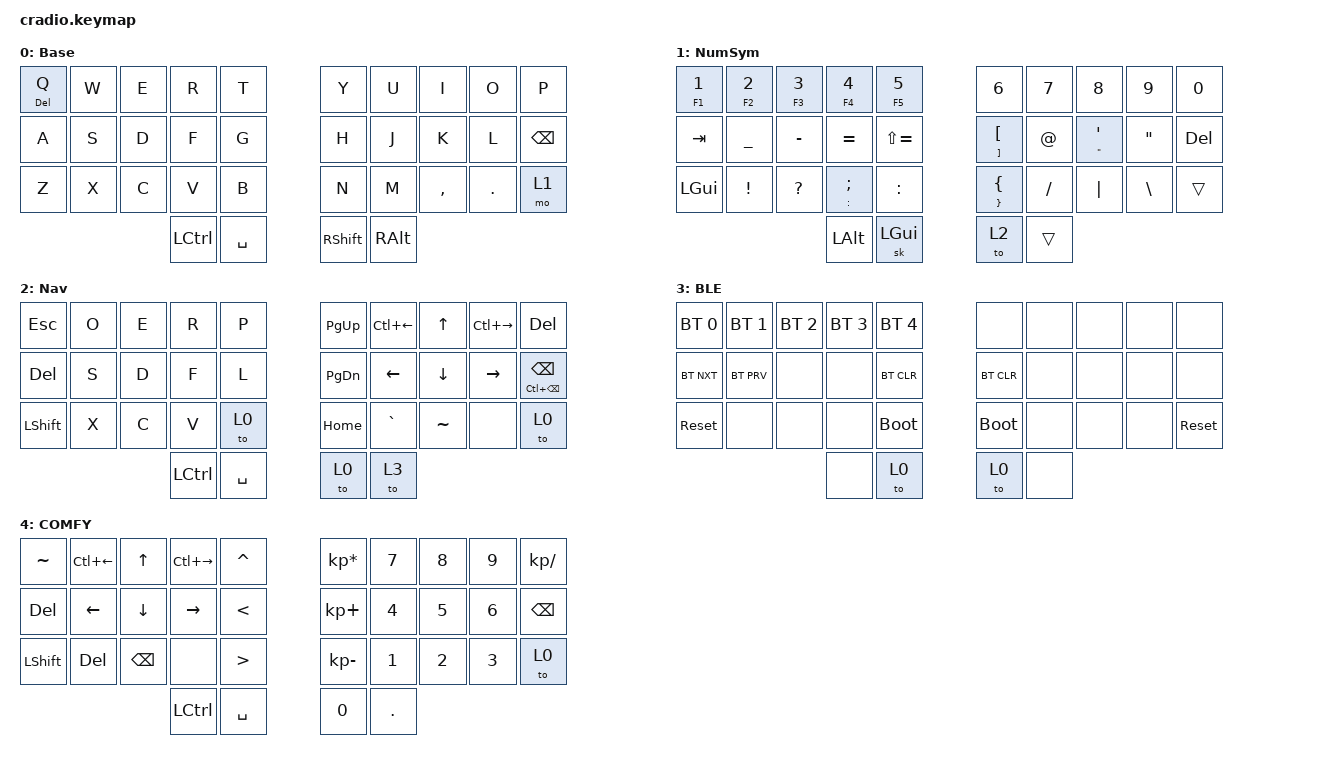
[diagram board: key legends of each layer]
/*
 * Copyright (c) 2020 The ZMK Contributors
 *
 * SPDX-License-Identifier: MIT
 */

#include <behaviors.dtsi>
#include <dt-bindings/zmk/keys.h>
#include <dt-bindings/zmk/bt.h>

#define DEFAULT_L 	0
#define NUMSYM_L 	1
#define NAV_L 		2
#define BLE_L 		3
#define COMFY_L		4
#define WORK_L		5

// Using layer taps on thumbs, having quick tap as well helps w/ repeating space/backspace

&lt {
    quick_tap_ms = <200>;
};

// Sticky Layer Behavior - release sticky behavior after x ms

&sk {
    release-after-ms = <1800>;
};

// COMBOS
// ===========================================================================================================
/*
	.----------------------------------------------------------------------.
	|  0  |  1  |  2  |  3  |  4  |          |  5  |  6  |  7  |  8  |  9  |
	|  10 |  11 |  12 |  13 |  14 |          |  15 |  16 |  17 |  18 |  19 |
	|  20 |  21 |  22 |  23 |  24 |          |  25 |  26 |  27 |  28 |  29 |
	'-----------------\  30 |  31 |          |  32 |  33 /-----------------'
	                   '--------------------------------'
			
	ESC 	= 0 | 1			LC(X)	= 7 | 8
	TAB 	= 11 | 12		LC(C)	= 17 | 18
					LC(V)	= 27 | 28
	ENTER 	= 12 | 13		SK(SFT) = 16 | 17
	LPAR 	= 13 | 14		RPAR 	= 15 | 16
	TO_2	= 20 | 21
	TO_4	= 21 | 22
	TO_0	= 22 | 23 
	TO_3	= 20 | 21 | 22		TO_3	= 27 | 28 | 29
*/

/ {
    combos {
        compatible = "zmk,combos";

        combo_esc {
            timeout-ms = <40>;
            key-positions = <0 1>;
            bindings = <&kp ESC>;
        };

        combo_tab {
            timeout-ms = <40>;
            key-positions = <11 12>;
            bindings = <&kp TAB>;
        };

        combo_enter {
            timeout-ms = <40>;
            key-positions = <12 13>;
            bindings = <&kp ENTER>;
        };

        combo_lpar {
            timeout-ms = <40>;
            key-positions = <13 14>;
            bindings = <&kp LPAR>;
        };

        combo_rpar {
            timeout-ms = <40>;
            key-positions = <15 16>;
            bindings = <&kp RPAR>;
        };

        combo_comfy {
            timeout-ms = <40>;
            key-positions = <21 22>;
            bindings = <&to COMFY_L>;
        };

        combo_default {
            timeout-ms = <40>;
            key-positions = <22 23>;
            bindings = <&to DEFAULT_L>;
        };

        combo_skshift {
            timeout-ms = <40>;
            key-positions = <16 17>;
            bindings = <&sk LSHIFT>;
        };

        combo_blel {
            timeout-ms = <40>;
            key-positions = <20 21 22>;
            bindings = <&to BLE_L>;
        };

        combo_bler {
            timeout-ms = <40>;
            key-positions = <27 28 29>;
            bindings = <&to BLE_L>;
        };

        combo_nav {
            timeout-ms = <40>;
            key-positions = <20 21>;
            bindings = <&to NAV_L>;
        };
    };

    // BEHAVIOR    
    // ===========================================================================================================

    behaviors {
        hm: homerow_mods {
            compatible = "zmk,behavior-hold-tap";
            label = "homerow mods";
            #binding-cells = <2>;
            tapping_term_ms = <170>;
            quick_tap_ms = <0>;
            flavor = "tap-preferred";
            bindings =
                <&kp>,
                <&kp>;
        };
    };

    // KEYMAP
    // ===========================================================================================================
    /* 0 = Default
	.----------------------------------------------------------------------.
	|Q DEL|  W  |  E  |  R  |  T  |          |  Y  |  U  |  I  |  O  |  P  |
	|  A  |  S  |  D  |  F  |  G  |          |  H  |  J  |  K  |  L  |BKSPC|
	|  Z  |  X  |  C  |  V  |  B  |          |  N  |  M  |  ,  |  .  |MO_1 |
	'-----------------\ CTRL| SPC |          | SFT | RALT/-----------------'
	                   '--------------------------------'
*/

    keymap {
        compatible = "zmk,keymap";

        default_layer {
            label = "Base";
            bindings = <
&mt DEL Q  &kp W  &kp E      &kp R      &kp T         &kp Y     &kp U      &kp I    &kp O          &kp P
    &kp A  &kp S  &kp D      &kp F      &kp G         &kp H     &kp J      &kp K    &kp L  &kp BACKSPACE
    &kp Z  &kp X  &kp C      &kp V      &kp B         &kp N     &kp M  &kp COMMA  &kp DOT          &mo 1
                         &kp LCTRL  &kp SPACE    &kp RSHIFT  &kp RALT
            >;
        };

        // -----------------------------------------------------------------------------
        /* 1 = Numbers and Symbols
	.----------------------------------------------------------------------.
	| 1 F1|2 F2 |3 F3 |4 F4 |5 F5 |          |  6  |  7  |  8  |  9  |  0  |
	| TAB |  _  |  -  |  =  |  +  |          | [ ] |  @  | ' " |  "  | DEL |
	| LGUI|  !  |  ?  | ; : |  :  |          | { } |  /  |  |  |  \  |     |
	'-----------------\ LALT| SFT |          |TO_2 |     /-----------------'
	                   '--------------------------------'
*/

        numsym_layer {
            label = "NumSym";
            bindings = <
&mt F1 N1  &mt F2 N2  &mt F3 N3       &mt F4 N4      &mt F5 N5           &kp N6    &kp N7       &kp N8    &kp N9   &kp N0
  &kp TAB  &kp UNDER  &kp MINUS       &kp EQUAL  &kp LS(EQUAL)    &mt RBKT LBKT    &kp AT  &mt DQT SQT   &kp DQT  &kp DEL
 &kp LGUI   &kp EXCL  &kp QMARK  &mt COLON SEMI      &kp COLON    &mt RBRC LBRC  &kp FSLH     &kp PIPE  &kp BSLH   &trans
                                       &kp LALT   &sk LEFT_GUI            &to 2    &trans
            >;
        };

        // -----------------------------------------------------------------------------
        /* 2 = Navigation
	.----------------------------------------------------------------------.
	| ESC |  O  |  E  |  R  |  P  |          |PGUP | ← ← |  ↑  | → → | DEL |
	| DEL |  S  |  D  |  F  |  L  |          |PGDN |  ←  |  ↓  |  →  |BKSPC|
	| SFT |  X  |  C  |  V  |TO_0 |          |HOME |     |     |     |TO_0 |
	'-----------------\ CTRL| SPC |          |TO_0 |TO_3 /-----------------'
	                   '--------------------------------'
*/

        nav_layer {
            label = "Nav";
            bindings = <
   &kp ESC  &kp O  &kp E      &kp R      &kp P    &kp PG_UP  &kp LC(LEFT)     &kp UP  &kp LC(RIGHT)                      &kp DEL
   &kp DEL  &kp S  &kp D      &kp F      &kp L    &kp PG_DN      &kp LEFT   &kp DOWN      &kp RIGHT  &mt LC(BACKSPACE) BACKSPACE
&kp LSHIFT  &kp X  &kp C      &kp V      &to 0     &kp HOME     &kp GRAVE  &kp TILDE          &none                        &to 0
                          &kp LCTRL  &kp SPACE        &to 0         &to 3
            >;
        };

        // -----------------------------------------------------------------------------
        /* 3 = Bluetooth
	.----------------------------------------------------------------------.
	| BT0 | BT1 | BT2 | BT3 | BT4 |     	 |     |     |     |     |     |
	| BTN | BTP |     |     | BLC |     	 | BLC |     |     |     |     |
	|RST  |     |     |     | BL  |          | BL  |     |     |	 | RST |
	'-----------------\     |TO_0 |          |TO_0 |     /-----------------'
	                   '--------------------------------'
*/

        ble_layer {
            label = "BLE";
            bindings = <
&bt BT_SEL 0  &bt BT_SEL 1  &bt BT_SEL 2  &bt BT_SEL 3  &bt BT_SEL 4          &none  &none  &none  &none       &none
  &bt BT_NXT    &bt BT_PRV         &none         &none    &bt BT_CLR     &bt BT_CLR  &none  &none  &none       &none
  &sys_reset         &none         &none         &none   &bootloader    &bootloader  &none  &none  &none  &sys_reset
                                                 &none         &to 0          &to 0  &none
            >;
        };

        // -----------------------------------------------------------------------------
        /* 4 = Comfort
	.----------------------------------------------------------------------.
	| TIL | ← ← |  ↑  | → → |  ^  |     	 |  *  |  7  |  8  |  9  |  /  |
	| DEL |  ←  |  ↓  |  →  |  <  |     	 |  +  |  4  |  5  |  6  |BKSPC|
	| SFT | DEL |BKSPC|     |  >  |          |  -  |  1  |  2  |  3  |TO_0 |
	'-----------------\ CTRL| SPC |          |  0  |  .  /-----------------'
	                   '--------------------------------'
*/

        comfy_layer {
            label = "COMFY";
            bindings = <
 &kp TILDE  &kp LC(LEFT)         &kp UP  &kp LC(RIGHT)         &kp CARET    &kp KP_MULTIPLY   &kp N7  &kp N8  &kp N9  &kp KP_DIVIDE
   &kp DEL      &kp LEFT       &kp DOWN      &kp RIGHT     &kp LESS_THAN        &kp KP_PLUS   &kp N4  &kp N5  &kp N6  &kp BACKSPACE
&kp LSHIFT       &kp DEL  &kp BACKSPACE          &none  &kp GREATER_THAN       &kp KP_MINUS   &kp N1  &kp N2  &kp N3          &to 0
                                             &kp LCTRL         &kp SPACE             &kp N0  &kp DOT
            >;
        };
    };
};

// ===========================================================================================================
